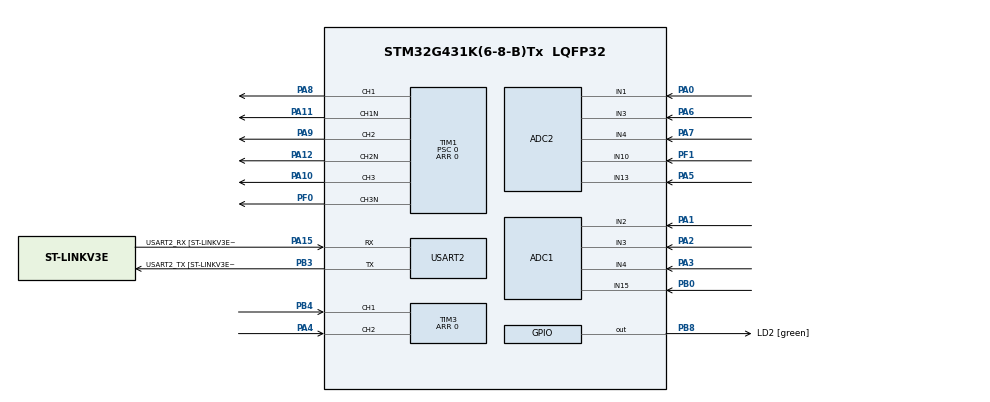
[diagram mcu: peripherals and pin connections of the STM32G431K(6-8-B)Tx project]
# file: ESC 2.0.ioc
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ADC1.Channel-13\#ChannelRegularConversion=ADC_CHANNEL_3
ADC1.EOCSelection=ADC_EOC_SEQ_CONV
ADC1.EnableAnalogWatchDog1=false
ADC1.EnableInjectedConversion=ENABLE
ADC1.EnableRegularConversion=ENABLE
ADC1.ExternalTrigInjecConv=ADC_EXTERNALTRIGINJEC_T1_TRGO
ADC1.InjNumberOfConversion=1
ADC1.InjectedChannel-12\#ChannelInjectedConversion=ADC_CHANNEL_2
ADC1.InjectedOffsetNumber-12\#ChannelInjectedConversion=ADC_OFFSET_NONE
ADC1.InjectedRank-12\#ChannelInjectedConversion=1
ADC1.InjectedSamplingTime-12\#ChannelInjectedConversion=ADC_SAMPLETIME_24CYCLES_5
ADC1.NbrOfConversionFlag=1
ADC1.OffsetNumber-13\#ChannelRegularConversion=ADC_OFFSET_NONE
ADC1.Rank-13\#ChannelRegularConversion=1
ADC1.SamplingTime-13\#ChannelRegularConversion=ADC_SAMPLETIME_47CYCLES_5
ADC1.master=1
ADC2.EOCSelection=ADC_EOC_SEQ_CONV
ADC2.EnableInjectedConversion=ENABLE
ADC2.EnableRegularConversion=DISABLE
ADC2.ExternalTrigInjecConv=ADC_EXTERNALTRIGINJEC_T1_TRGO
ADC2.InjNumberOfConversion=2
ADC2.InjectedChannel-24\#ChannelInjectedConversion=ADC_CHANNEL_1
ADC2.InjectedChannel-25\#ChannelInjectedConversion=ADC_CHANNEL_3
ADC2.InjectedOffsetNumber-24\#ChannelInjectedConversion=ADC_OFFSET_NONE
ADC2.InjectedOffsetNumber-25\#ChannelInjectedConversion=ADC_OFFSET_NONE
ADC2.InjectedRank-24\#ChannelInjectedConversion=1
ADC2.InjectedRank-25\#ChannelInjectedConversion=2
ADC2.InjectedSamplingTime-24\#ChannelInjectedConversion=ADC_SAMPLETIME_24CYCLES_5
ADC2.InjectedSamplingTime-25\#ChannelInjectedConversion=ADC_SAMPLETIME_24CYCLES_5
Dma.Request0=USART2_TX
Dma.USART2_TX.0.Direction=DMA_MEMORY_TO_PERIPH
Dma.USART2_TX.0.EventEnable=DISABLE
Dma.USART2_TX.0.Instance=DMA1_Channel1
Dma.USART2_TX.0.MemDataAlignment=DMA_MDATAALIGN_BYTE
Dma.USART2_TX.0.MemInc=DMA_MINC_ENABLE
Dma.USART2_TX.0.Mode=DMA_NORMAL
Dma.USART2_TX.0.PeriphDataAlignment=DMA_PDATAALIGN_BYTE
Dma.USART2_TX.0.PeriphInc=DMA_PINC_DISABLE
Dma.USART2_TX.0.Polarity=HAL_DMAMUX_REQ_GEN_RISING
Dma.USART2_TX.0.Priority=DMA_PRIORITY_LOW
Dma.USART2_TX.0.RequestNumber=1
Dma.USART2_TX.0.SignalID=NONE
Dma.USART2_TX.0.SyncEnable=DISABLE
Dma.USART2_TX.0.SyncPolarity=HAL_DMAMUX_SYNC_NO_EVENT
Dma.USART2_TX.0.SyncRequestNumber=1
Dma.USART2_TX.0.SyncSignalID=NONE
Mcu.Family=STM32G4
Mcu.Name=STM32G431K(6-8-B)Tx
Mcu.Package=LQFP32
NVIC.ADC1_2_IRQn=true\:0\:0\:false\:false\:true\:true\:true\:true
NVIC.DMA1_Channel1_IRQn=true\:0\:0\:false\:false\:true\:false\:true\:true
NVIC.PriorityGroup=NVIC_PRIORITYGROUP_4
NVIC.TIM6_DAC_IRQn=true\:0\:0\:false\:false\:true\:true\:true\:true
PA0.Mode=IN1-Single-Ended
PA0.Signal=ADC2_IN1
PA1.Mode=IN2-Single-Ended
PA1.Signal=ADC1_IN2
PA10.Signal=S_TIM1_CH3
PA11.Mode=PWM Generation1 CH1 CH1N
PA11.Signal=TIM1_CH1N
PA12.Mode=PWM Generation2 CH2 CH2N
PA12.Signal=TIM1_CH2N
PA13.GPIO_Label=T_SWDIO
PA13.Mode=Serial_Wire
PA13.Signal=SYS_JTMS-SWDIO
PA14.GPIO_Label=T_SWCLK
PA14.Mode=Serial_Wire
PA14.Signal=SYS_JTCK-SWCLK
PA15.GPIO_Label=USART2_RX [ST-LINKV3E_VCP_TX]
PA15.Mode=Asynchronous
PA15.Signal=USART2_RX
PA2.Mode=IN3-Single-Ended
PA2.Signal=ADC1_IN3
PA3.Mode=IN4-Single-Ended
PA3.Signal=ADC1_IN4
PA4.Signal=S_TIM3_CH2
PA5.Mode=IN13-Single-Ended
PA5.Signal=ADC2_IN13
PA6.Mode=IN3-Single-Ended
PA6.Signal=ADC2_IN3
PA7.Mode=IN4-Single-Ended
PA7.Signal=ADC2_IN4
PA8.Signal=S_TIM1_CH1
PA9.Signal=S_TIM1_CH2
PB0.Mode=IN15-Single-Ended
PB0.Signal=ADC1_IN15
PB3.GPIO_Label=USART2_TX [ST-LINKV3E_VCP_RX]
PB3.Mode=Asynchronous
PB3.Signal=USART2_TX
PB4.Signal=S_TIM3_CH1
PB8-BOOT0.GPIO_Label=LD2 [green]
PB8-BOOT0.Signal=GPIO_Output
PF0-OSC_IN.Mode=PWM Generation3 CH3 CH3N
PF0-OSC_IN.Signal=TIM1_CH3N
PF1-OSC_OUT.Mode=IN10-Single-Ended
PF1-OSC_OUT.Signal=ADC2_IN10
ProjectManager.HeapSize=0x200
ProjectManager.StackSize=0x400
ProjectManager.TargetToolchain=STM32CubeIDE
RCC.ADC12Freq_Value=170000000
RCC.AHBFreq_Value=170000000
RCC.APB1Freq_Value=170000000
RCC.APB1TimFreq_Value=170000000
RCC.APB2Freq_Value=170000000
RCC.APB2TimFreq_Value=170000000
RCC.CortexFreq_Value=170000000
RCC.EXTERNAL_CLOCK_VALUE=12288000
RCC.HCLKFreq_Value=170000000
RCC.HSE_VALUE=8000000
RCC.HSI48_VALUE=48000000
RCC.HSI_VALUE=16000000
RCC.LSE_VALUE=32768
RCC.PLLM=RCC_PLLM_DIV4
RCC.PLLN=85
RCC.SYSCLKFreq_VALUE=170000000
RCC.SYSCLKSource=RCC_SYSCLKSOURCE_PLLCLK
RCC.USBFreq_Value=170000000
RCC.VCOOutputFreq_Value=340000000
SH.S_TIM1_CH1.0=TIM1_CH1,PWM Generation1 CH1 CH1N
SH.S_TIM1_CH2.0=TIM1_CH2,PWM Generation2 CH2 CH2N
SH.S_TIM1_CH3.0=TIM1_CH3,PWM Generation3 CH3 CH3N
SH.S_TIM3_CH1.0=TIM3_CH1,Encoder_Interface
SH.S_TIM3_CH2.0=TIM3_CH2,Encoder_Interface
TIM1.AutoReloadPreload=TIM_AUTORELOAD_PRELOAD_DISABLE
TIM1.Channel-Output\ Compare4\ No\ Output=TIM_CHANNEL_4
TIM1.Channel-PWM\ Generation1\ CH1\ CH1N=TIM_CHANNEL_1
TIM1.Channel-PWM\ Generation2\ CH2\ CH2N=TIM_CHANNEL_2
TIM1.Channel-PWM\ Generation3\ CH3\ CH3N=TIM_CHANNEL_3
TIM1.CounterMode=TIM_COUNTERMODE_CENTERALIGNED1
TIM1.DeadTime=200
TIM1.OCMode_4=TIM_OCMODE_PULSE_ON_COMPARE
TIM1.PeriodNoDither=0
TIM1.Prescaler=0
TIM1.PulseNoDither_1=0
TIM1.PulseNoDither_4=0
TIM1.TIM_MasterOutputTrigger=TIM_TRGO_OC4REF
TIM3.EncoderMode=TIM_ENCODERMODE_TI12
TIM3.PeriodNoDither=0
TIM6.PeriodNoDither=21250
USART2.VirtualMode-Asynchronous=VM_ASYNC
VP_CORDIC_VS_CORDIC.Mode=CORDIC_Activate
VP_TIM1_VS_no_output4.Mode=Output Compare4 No Output
VP_TIM6_VS_ClockSourceINT.Mode=Enable_Timer
board=NUCLEO-G431KB

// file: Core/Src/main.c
/* USER CODE BEGIN Header */
/**
  ******************************************************************************
  * @file           : main.c
  * @brief          : Main program body
  ******************************************************************************
  * @attention
  *
  * Copyright (c) 2023 STMicroelectronics.
  * All rights reserved.
  *
  * This software is licensed under terms that can be found in the LICENSE file
  * in the root directory of this software component.
  * If no LICENSE file comes with this software, it is provided AS-IS.
  *
  ******************************************************************************
  */
/* USER CODE END Header */
#include "main.h"

/* USER CODE BEGIN Includes */
#include "constants.h"
#include "globalVariables.h"
#include "motorControl.h"
/* USER CODE END Includes */

void SystemClock_Config(void);
static void MX_GPIO_Init(void);
static void MX_DMA_Init(void);
static void MX_TIM3_Init(void);
static void MX_CORDIC_Init(void);
static void MX_TIM1_Init(void);
static void MX_TIM6_Init(void);
static void MX_ADC2_Init(void);
static void MX_ADC1_Init(void);
static void MX_USART2_UART_Init(void);

int main(void)
{

  /* MCU Configuration--------------------------------------------------------*/

  /* Reset of all peripherals, Initializes the Flash interface and the Systick. */
  LL_APB2_GRP1_EnableClock(LL_APB2_GRP1_PERIPH_SYSCFG);
  LL_APB1_GRP1_EnableClock(LL_APB1_GRP1_PERIPH_PWR);

  /* System interrupt init*/
  NVIC_SetPriorityGrouping(NVIC_PRIORITYGROUP_4);

  /* Configure the system clock */
  SystemClock_Config();

  /* Initialize all configured peripherals */
  MX_GPIO_Init();
  MX_DMA_Init();
  MX_TIM3_Init();
  MX_CORDIC_Init();
  MX_TIM1_Init();
  MX_TIM6_Init();
  MX_ADC2_Init();
  MX_ADC1_Init();
  MX_USART2_UART_Init();

  /* Infinite loop */
  /* USER CODE BEGIN WHILE */

  // PWM Timer Setup
  TIM1->ARR = PWM_PERIOD;
  LL_TIM_EnableCounter(TIM1);
  LL_TIM_CC_EnableChannel(TIM1, LL_TIM_CHANNEL_CH1);
  LL_TIM_CC_EnableChannel(TIM1, LL_TIM_CHANNEL_CH1N);
  LL_TIM_CC_EnableChannel(TIM1, LL_TIM_CHANNEL_CH2);
  LL_TIM_CC_EnableChannel(TIM1, LL_TIM_CHANNEL_CH2N);
  LL_TIM_CC_EnableChannel(TIM1, LL_TIM_CHANNEL_CH3);
  LL_TIM_CC_EnableChannel(TIM1, LL_TIM_CHANNEL_CH3N);
  // Channel 4 used to trigger ADC
  LL_TIM_CC_EnableChannel(TIM1, LL_TIM_CHANNEL_CH4);
  LL_TIM_OC_SetCompareCH4(TIM1, PWM_PERIOD);

  LL_TIM_EnableAllOutputs(TIM1);

  LL_ADC_INJ_StartConversion(ADC2);
  LL_ADC_INJ_StartConversion(ADC1);

  LL_DMA_EnableChannel(DMA1, LL_DMA_CHANNEL_5);

  mainLoop();

  while (1)
  {
    /* USER CODE END WHILE */

  }
}

void SystemClock_Config(void)
{
  LL_FLASH_SetLatency(LL_FLASH_LATENCY_4);
  while(LL_FLASH_GetLatency() != LL_FLASH_LATENCY_4)
  {
  }
  LL_PWR_EnableRange1BoostMode();
  LL_RCC_HSI_Enable();
   /* Wait till HSI is ready */
  while(LL_RCC_HSI_IsReady() != 1)
  {
  }

  LL_RCC_HSI_SetCalibTrimming(64);
  LL_RCC_PLL_ConfigDomain_SYS(LL_RCC_PLLSOURCE_HSI, LL_RCC_PLLM_DIV_4, 85, LL_RCC_PLLR_DIV_2);
  LL_RCC_PLL_EnableDomain_SYS();
  LL_RCC_PLL_Enable();
   /* Wait till PLL is ready */
  while(LL_RCC_PLL_IsReady() != 1)
  {
  }

  LL_RCC_SetSysClkSource(LL_RCC_SYS_CLKSOURCE_PLL);
  LL_RCC_SetAHBPrescaler(LL_RCC_SYSCLK_DIV_2);
   /* Wait till System clock is ready */
  while(LL_RCC_GetSysClkSource() != LL_RCC_SYS_CLKSOURCE_STATUS_PLL)
  {
  }

  /* Insure 1us transition state at intermediate medium speed clock*/
  for (__IO uint32_t i = (170 >> 1); i !=0; i--);

  /* Set AHB prescaler*/
  LL_RCC_SetAHBPrescaler(LL_RCC_SYSCLK_DIV_1);
  LL_RCC_SetAPB1Prescaler(LL_RCC_APB1_DIV_1);
  LL_RCC_SetAPB2Prescaler(LL_RCC_APB2_DIV_1);

  LL_Init1msTick(170000000);

  LL_SetSystemCoreClock(170000000);
}

static void MX_ADC1_Init(void)
{

  LL_ADC_InitTypeDef ADC_InitStruct = {0};
  LL_ADC_REG_InitTypeDef ADC_REG_InitStruct = {0};
  LL_ADC_CommonInitTypeDef ADC_CommonInitStruct = {0};
  LL_ADC_INJ_InitTypeDef ADC_INJ_InitStruct = {0};

  LL_GPIO_InitTypeDef GPIO_InitStruct = {0};

  LL_RCC_SetADCClockSource(LL_RCC_ADC12_CLKSOURCE_SYSCLK);

  /* Peripheral clock enable */
  LL_AHB2_GRP1_EnableClock(LL_AHB2_GRP1_PERIPH_ADC12);

  LL_AHB2_GRP1_EnableClock(LL_AHB2_GRP1_PERIPH_GPIOA);
  LL_AHB2_GRP1_EnableClock(LL_AHB2_GRP1_PERIPH_GPIOB);
  /**ADC1 GPIO Configuration
  PA1   ------> ADC1_IN2
  PA2   ------> ADC1_IN3
  PA3   ------> ADC1_IN4
  PB0   ------> ADC1_IN15
  */
  GPIO_InitStruct.Pin = LL_GPIO_PIN_1;
  GPIO_InitStruct.Mode = LL_GPIO_MODE_ANALOG;
  GPIO_InitStruct.Pull = LL_GPIO_PULL_NO;
  LL_GPIO_Init(GPIOA, &GPIO_InitStruct);

  GPIO_InitStruct.Pin = LL_GPIO_PIN_2;
  GPIO_InitStruct.Mode = LL_GPIO_MODE_ANALOG;
  GPIO_InitStruct.Pull = LL_GPIO_PULL_NO;
  LL_GPIO_Init(GPIOA, &GPIO_InitStruct);

  GPIO_InitStruct.Pin = LL_GPIO_PIN_3;
  GPIO_InitStruct.Mode = LL_GPIO_MODE_ANALOG;
  GPIO_InitStruct.Pull = LL_GPIO_PULL_NO;
  LL_GPIO_Init(GPIOA, &GPIO_InitStruct);

  GPIO_InitStruct.Pin = LL_GPIO_PIN_0;
  GPIO_InitStruct.Mode = LL_GPIO_MODE_ANALOG;
  GPIO_InitStruct.Pull = LL_GPIO_PULL_NO;
  LL_GPIO_Init(GPIOB, &GPIO_InitStruct);

  /* ADC1 interrupt Init */
  NVIC_SetPriority(ADC1_2_IRQn, NVIC_EncodePriority(NVIC_GetPriorityGrouping(),0, 0));
  NVIC_EnableIRQ(ADC1_2_IRQn);

  /** Common config
  */
  ADC_InitStruct.Resolution = LL_ADC_RESOLUTION_12B;
  ADC_InitStruct.DataAlignment = LL_ADC_DATA_ALIGN_RIGHT;
  ADC_InitStruct.LowPowerMode = LL_ADC_LP_MODE_NONE;
  LL_ADC_Init(ADC1, &ADC_InitStruct);
  ADC_REG_InitStruct.TriggerSource = LL_ADC_REG_TRIG_SOFTWARE;
  ADC_REG_InitStruct.SequencerLength = LL_ADC_REG_SEQ_SCAN_DISABLE;
  ADC_REG_InitStruct.SequencerDiscont = LL_ADC_REG_SEQ_DISCONT_DISABLE;
  ADC_REG_InitStruct.ContinuousMode = LL_ADC_REG_CONV_SINGLE;
  ADC_REG_InitStruct.DMATransfer = LL_ADC_REG_DMA_TRANSFER_NONE;
  ADC_REG_InitStruct.Overrun = LL_ADC_REG_OVR_DATA_PRESERVED;
  LL_ADC_REG_Init(ADC1, &ADC_REG_InitStruct);
  LL_ADC_SetGainCompensation(ADC1, 0);
  LL_ADC_SetOverSamplingScope(ADC1, LL_ADC_OVS_DISABLE);
  ADC_CommonInitStruct.CommonClock = LL_ADC_CLOCK_SYNC_PCLK_DIV4;
  ADC_CommonInitStruct.Multimode = LL_ADC_MULTI_INDEPENDENT;
  LL_ADC_CommonInit(__LL_ADC_COMMON_INSTANCE(ADC1), &ADC_CommonInitStruct);
  ADC_INJ_InitStruct.TriggerSource = LL_ADC_INJ_TRIG_EXT_TIM1_TRGO;
  ADC_INJ_InitStruct.SequencerLength = LL_ADC_INJ_SEQ_SCAN_DISABLE;
  ADC_INJ_InitStruct.SequencerDiscont = LL_ADC_INJ_SEQ_DISCONT_DISABLE;
  ADC_INJ_InitStruct.TrigAuto = LL_ADC_INJ_TRIG_INDEPENDENT;
  LL_ADC_INJ_Init(ADC1, &ADC_INJ_InitStruct);
  LL_ADC_INJ_SetQueueMode(ADC1, LL_ADC_INJ_QUEUE_DISABLE);
  LL_ADC_INJ_SetTriggerEdge(ADC1, LL_ADC_INJ_TRIG_EXT_RISING);

  /* Disable ADC deep power down (enabled by default after reset state) */
  LL_ADC_DisableDeepPowerDown(ADC1);
  /* Enable ADC internal voltage regulator */
  LL_ADC_EnableInternalRegulator(ADC1);
  /* Delay for ADC internal voltage regulator stabilization. */
  /* Compute number of CPU cycles to wait for, from delay in us. */
  /* Note: Variable divided by 2 to compensate partially */
  /* CPU processing cycles (depends on compilation optimization). */
  /* Note: If system core clock frequency is below 200kHz, wait time */
  /* is only a few CPU processing cycles. */
  uint32_t wait_loop_index;
  wait_loop_index = ((LL_ADC_DELAY_INTERNAL_REGUL_STAB_US * (SystemCoreClock / (100000 * 2))) / 10);
  while(wait_loop_index != 0)
  {
    wait_loop_index--;
  }

  /** Configure Injected Channel
  */
  LL_ADC_INJ_SetSequencerRanks(ADC1, LL_ADC_INJ_RANK_1, LL_ADC_CHANNEL_2);
  LL_ADC_SetChannelSamplingTime(ADC1, LL_ADC_CHANNEL_2, LL_ADC_SAMPLINGTIME_24CYCLES_5);
  LL_ADC_SetChannelSingleDiff(ADC1, LL_ADC_CHANNEL_2, LL_ADC_SINGLE_ENDED);

  /** Configure Regular Channel
  */
  LL_ADC_REG_SetSequencerRanks(ADC1, LL_ADC_REG_RANK_1, LL_ADC_CHANNEL_3);
  LL_ADC_SetChannelSamplingTime(ADC1, LL_ADC_CHANNEL_3, LL_ADC_SAMPLINGTIME_47CYCLES_5);
  LL_ADC_SetChannelSingleDiff(ADC1, LL_ADC_CHANNEL_3, LL_ADC_SINGLE_ENDED);
  /* USER CODE BEGIN ADC1_Init 2 */
  LL_ADC_Enable(ADC1);
  while (!LL_ADC_IsActiveFlag_ADRDY(ADC1)); // Wait until ADC ready
  LL_ADC_ClearFlag_ADRDY(ADC1); // Clear ADC ready flag

  LL_ADC_EnableIT_JEOS(ADC1);
  /* USER CODE END ADC1_Init 2 */

}

static void MX_ADC2_Init(void)
{

  LL_ADC_InitTypeDef ADC_InitStruct = {0};
  LL_ADC_REG_InitTypeDef ADC_REG_InitStruct = {0};
  LL_ADC_INJ_InitTypeDef ADC_INJ_InitStruct = {0};

  LL_GPIO_InitTypeDef GPIO_InitStruct = {0};

  LL_RCC_SetADCClockSource(LL_RCC_ADC12_CLKSOURCE_SYSCLK);

  /* Peripheral clock enable */
  LL_AHB2_GRP1_EnableClock(LL_AHB2_GRP1_PERIPH_ADC12);

  LL_AHB2_GRP1_EnableClock(LL_AHB2_GRP1_PERIPH_GPIOF);
  LL_AHB2_GRP1_EnableClock(LL_AHB2_GRP1_PERIPH_GPIOA);
  /**ADC2 GPIO Configuration
  PF1-OSC_OUT   ------> ADC2_IN10
  PA0   ------> ADC2_IN1
  PA5   ------> ADC2_IN13
  PA6   ------> ADC2_IN3
  PA7   ------> ADC2_IN4
  */
  GPIO_InitStruct.Pin = LL_GPIO_PIN_1;
  GPIO_InitStruct.Mode = LL_GPIO_MODE_ANALOG;
  GPIO_InitStruct.Pull = LL_GPIO_PULL_NO;
  LL_GPIO_Init(GPIOF, &GPIO_InitStruct);

  GPIO_InitStruct.Pin = LL_GPIO_PIN_0;
  GPIO_InitStruct.Mode = LL_GPIO_MODE_ANALOG;
  GPIO_InitStruct.Pull = LL_GPIO_PULL_NO;
  LL_GPIO_Init(GPIOA, &GPIO_InitStruct);

  GPIO_InitStruct.Pin = LL_GPIO_PIN_5;
  GPIO_InitStruct.Mode = LL_GPIO_MODE_ANALOG;
  GPIO_InitStruct.Pull = LL_GPIO_PULL_NO;
  LL_GPIO_Init(GPIOA, &GPIO_InitStruct);

  GPIO_InitStruct.Pin = LL_GPIO_PIN_6;
  GPIO_InitStruct.Mode = LL_GPIO_MODE_ANALOG;
  GPIO_InitStruct.Pull = LL_GPIO_PULL_NO;
  LL_GPIO_Init(GPIOA, &GPIO_InitStruct);

  GPIO_InitStruct.Pin = LL_GPIO_PIN_7;
  GPIO_InitStruct.Mode = LL_GPIO_MODE_ANALOG;
  GPIO_InitStruct.Pull = LL_GPIO_PULL_NO;
  LL_GPIO_Init(GPIOA, &GPIO_InitStruct);

  /* ADC2 interrupt Init */
  NVIC_SetPriority(ADC1_2_IRQn, NVIC_EncodePriority(NVIC_GetPriorityGrouping(),0, 0));
  NVIC_EnableIRQ(ADC1_2_IRQn);

  /** Common config
  */
  ADC_InitStruct.Resolution = LL_ADC_RESOLUTION_12B;
  ADC_InitStruct.DataAlignment = LL_ADC_DATA_ALIGN_RIGHT;
  ADC_InitStruct.LowPowerMode = LL_ADC_LP_MODE_NONE;
  LL_ADC_Init(ADC2, &ADC_InitStruct);
  ADC_REG_InitStruct.SequencerLength = LL_ADC_REG_SEQ_SCAN_DISABLE;
  ADC_REG_InitStruct.SequencerDiscont = LL_ADC_REG_SEQ_DISCONT_DISABLE;
  ADC_REG_InitStruct.ContinuousMode = LL_ADC_REG_CONV_SINGLE;
  ADC_REG_InitStruct.DMATransfer = LL_ADC_REG_DMA_TRANSFER_NONE;
  ADC_REG_InitStruct.Overrun = LL_ADC_REG_OVR_DATA_PRESERVED;
  LL_ADC_REG_Init(ADC2, &ADC_REG_InitStruct);
  LL_ADC_SetGainCompensation(ADC2, 0);
  LL_ADC_SetOverSamplingScope(ADC2, LL_ADC_OVS_DISABLE);
  ADC_INJ_InitStruct.TriggerSource = LL_ADC_INJ_TRIG_EXT_TIM1_TRGO;
  ADC_INJ_InitStruct.SequencerLength = LL_ADC_INJ_SEQ_SCAN_ENABLE_2RANKS;
  ADC_INJ_InitStruct.SequencerDiscont = LL_ADC_INJ_SEQ_DISCONT_DISABLE;
  ADC_INJ_InitStruct.TrigAuto = LL_ADC_INJ_TRIG_INDEPENDENT;
  LL_ADC_INJ_Init(ADC2, &ADC_INJ_InitStruct);
  LL_ADC_INJ_SetQueueMode(ADC2, LL_ADC_INJ_QUEUE_DISABLE);
  LL_ADC_INJ_SetTriggerEdge(ADC2, LL_ADC_INJ_TRIG_EXT_RISING);

  /* Disable ADC deep power down (enabled by default after reset state) */
  LL_ADC_DisableDeepPowerDown(ADC2);
  /* Enable ADC internal voltage regulator */
  LL_ADC_EnableInternalRegulator(ADC2);
  /* Delay for ADC internal voltage regulator stabilization. */
  /* Compute number of CPU cycles to wait for, from delay in us. */
  /* Note: Variable divided by 2 to compensate partially */
  /* CPU processing cycles (depends on compilation optimization). */
  /* Note: If system core clock frequency is below 200kHz, wait time */
  /* is only a few CPU processing cycles. */
  uint32_t wait_loop_index;
  wait_loop_index = ((LL_ADC_DELAY_INTERNAL_REGUL_STAB_US * (SystemCoreClock / (100000 * 2))) / 10);
  while(wait_loop_index != 0)
  {
    wait_loop_index--;
  }

  /** Configure Injected Channel
  */
  LL_ADC_INJ_SetSequencerRanks(ADC2, LL_ADC_INJ_RANK_1, LL_ADC_CHANNEL_1);
  LL_ADC_SetChannelSamplingTime(ADC2, LL_ADC_CHANNEL_1, LL_ADC_SAMPLINGTIME_24CYCLES_5);
  LL_ADC_SetChannelSingleDiff(ADC2, LL_ADC_CHANNEL_1, LL_ADC_SINGLE_ENDED);

  /** Configure Injected Channel
  */
  LL_ADC_INJ_SetSequencerRanks(ADC2, LL_ADC_INJ_RANK_2, LL_ADC_CHANNEL_3);
  LL_ADC_SetChannelSamplingTime(ADC2, LL_ADC_CHANNEL_3, LL_ADC_SAMPLINGTIME_24CYCLES_5);
  LL_ADC_SetChannelSingleDiff(ADC2, LL_ADC_CHANNEL_3, LL_ADC_SINGLE_ENDED);
  /* USER CODE BEGIN ADC2_Init 2 */
  LL_ADC_Enable(ADC2);
  while (!LL_ADC_IsActiveFlag_ADRDY(ADC2)); // Wait until ADC ready
  LL_ADC_ClearFlag_ADRDY(ADC2); // Clear ADC ready flag

  LL_ADC_EnableIT_JEOS(ADC2);
  /* USER CODE END ADC2_Init 2 */

}

static void MX_CORDIC_Init(void)
{

  /* Peripheral clock enable */
  LL_AHB1_GRP1_EnableClock(LL_AHB1_GRP1_PERIPH_CORDIC);

  /* nothing else to be configured */

  /* USER CODE BEGIN CORDIC_Init 2 */
  LL_CORDIC_SetFunction(CORDIC, LL_CORDIC_FUNCTION_SINE);
  LL_CORDIC_SetPrecision(CORDIC, LL_CORDIC_PRECISION_5CYCLES);
  LL_CORDIC_SetNbWrite(CORDIC, LL_CORDIC_NBWRITE_1);
  LL_CORDIC_SetNbRead(CORDIC, LL_CORDIC_NBREAD_1);
  LL_CORDIC_SetInSize(CORDIC, LL_CORDIC_INSIZE_16BITS);
  LL_CORDIC_SetOutSize(CORDIC, LL_CORDIC_OUTSIZE_16BITS);
  /* USER CODE END CORDIC_Init 2 */

}

static void MX_TIM1_Init(void)
{

  LL_TIM_InitTypeDef TIM_InitStruct = {0};
  LL_TIM_OC_InitTypeDef TIM_OC_InitStruct = {0};
  LL_TIM_BDTR_InitTypeDef TIM_BDTRInitStruct = {0};

  LL_GPIO_InitTypeDef GPIO_InitStruct = {0};

  /* Peripheral clock enable */
  LL_APB2_GRP1_EnableClock(LL_APB2_GRP1_PERIPH_TIM1);

  TIM_InitStruct.Prescaler = 0;
  TIM_InitStruct.CounterMode = LL_TIM_COUNTERMODE_CENTER_DOWN;
  TIM_InitStruct.Autoreload = 0;
  TIM_InitStruct.ClockDivision = LL_TIM_CLOCKDIVISION_DIV1;
  TIM_InitStruct.RepetitionCounter = 0;
  LL_TIM_Init(TIM1, &TIM_InitStruct);
  LL_TIM_DisableARRPreload(TIM1);
  LL_TIM_OC_EnablePreload(TIM1, LL_TIM_CHANNEL_CH1);
  TIM_OC_InitStruct.OCMode = LL_TIM_OCMODE_PWM1;
  TIM_OC_InitStruct.OCState = LL_TIM_OCSTATE_DISABLE;
  TIM_OC_InitStruct.OCNState = LL_TIM_OCSTATE_DISABLE;
  TIM_OC_InitStruct.CompareValue = 0;
  TIM_OC_InitStruct.OCPolarity = LL_TIM_OCPOLARITY_HIGH;
  TIM_OC_InitStruct.OCNPolarity = LL_TIM_OCPOLARITY_HIGH;
  TIM_OC_InitStruct.OCIdleState = LL_TIM_OCIDLESTATE_LOW;
  TIM_OC_InitStruct.OCNIdleState = LL_TIM_OCIDLESTATE_LOW;
  LL_TIM_OC_Init(TIM1, LL_TIM_CHANNEL_CH1, &TIM_OC_InitStruct);
  LL_TIM_OC_DisableFast(TIM1, LL_TIM_CHANNEL_CH1);
  LL_TIM_OC_EnablePreload(TIM1, LL_TIM_CHANNEL_CH2);
  LL_TIM_OC_Init(TIM1, LL_TIM_CHANNEL_CH2, &TIM_OC_InitStruct);
  LL_TIM_OC_DisableFast(TIM1, LL_TIM_CHANNEL_CH2);
  LL_TIM_OC_EnablePreload(TIM1, LL_TIM_CHANNEL_CH3);
  LL_TIM_OC_Init(TIM1, LL_TIM_CHANNEL_CH3, &TIM_OC_InitStruct);
  LL_TIM_OC_DisableFast(TIM1, LL_TIM_CHANNEL_CH3);
  TIM_OC_InitStruct.OCMode = LL_TIM_OCMODE_PULSE_ON_COMPARE;
  LL_TIM_OC_Init(TIM1, LL_TIM_CHANNEL_CH4, &TIM_OC_InitStruct);
  LL_TIM_OC_DisableFast(TIM1, LL_TIM_CHANNEL_CH4);
  LL_TIM_OC_SetPulseWidthPrescaler(TIM1, LL_TIM_PWPRSC_X1);
  LL_TIM_OC_SetPulseWidth(TIM1, 0);
  LL_TIM_SetTriggerOutput(TIM1, LL_TIM_TRGO_OC4REF);
  LL_TIM_SetTriggerOutput2(TIM1, LL_TIM_TRGO2_RESET);
  LL_TIM_DisableMasterSlaveMode(TIM1);
  TIM_BDTRInitStruct.OSSRState = LL_TIM_OSSR_DISABLE;
  TIM_BDTRInitStruct.OSSIState = LL_TIM_OSSI_DISABLE;
  TIM_BDTRInitStruct.LockLevel = LL_TIM_LOCKLEVEL_OFF;
  TIM_BDTRInitStruct.DeadTime = 200;
  TIM_BDTRInitStruct.BreakState = LL_TIM_BREAK_DISABLE;
  TIM_BDTRInitStruct.BreakPolarity = LL_TIM_BREAK_POLARITY_HIGH;
  TIM_BDTRInitStruct.BreakFilter = LL_TIM_BREAK_FILTER_FDIV1;
  TIM_BDTRInitStruct.BreakAFMode = LL_TIM_BREAK_AFMODE_INPUT;
  TIM_BDTRInitStruct.Break2State = LL_TIM_BREAK2_DISABLE;
  TIM_BDTRInitStruct.Break2Polarity = LL_TIM_BREAK2_POLARITY_HIGH;
  TIM_BDTRInitStruct.Break2Filter = LL_TIM_BREAK2_FILTER_FDIV1;
  TIM_BDTRInitStruct.Break2AFMode = LL_TIM_BREAK_AFMODE_INPUT;
  TIM_BDTRInitStruct.AutomaticOutput = LL_TIM_AUTOMATICOUTPUT_DISABLE;
  LL_TIM_BDTR_Init(TIM1, &TIM_BDTRInitStruct);
  /* USER CODE BEGIN TIM1_Init 2 */
  // Set pulse width for channel 4
  LL_TIM_OC_SetPulseWidthPrescaler(TIM1, LL_TIM_PWPRSC_X1);
  LL_TIM_OC_SetPulseWidth(TIM1, 100);
  /* USER CODE END TIM1_Init 2 */
  LL_AHB2_GRP1_EnableClock(LL_AHB2_GRP1_PERIPH_GPIOF);
  LL_AHB2_GRP1_EnableClock(LL_AHB2_GRP1_PERIPH_GPIOA);
  /**TIM1 GPIO Configuration
  PF0-OSC_IN   ------> TIM1_CH3N
  PA8   ------> TIM1_CH1
  PA9   ------> TIM1_CH2
  PA10   ------> TIM1_CH3
  PA11   ------> TIM1_CH1N
  PA12   ------> TIM1_CH2N
  */
  GPIO_InitStruct.Pin = LL_GPIO_PIN_0;
  GPIO_InitStruct.Mode = LL_GPIO_MODE_ALTERNATE;
  GPIO_InitStruct.Speed = LL_GPIO_SPEED_FREQ_LOW;
  GPIO_InitStruct.OutputType = LL_GPIO_OUTPUT_PUSHPULL;
  GPIO_InitStruct.Pull = LL_GPIO_PULL_NO;
  GPIO_InitStruct.Alternate = LL_GPIO_AF_6;
  LL_GPIO_Init(GPIOF, &GPIO_InitStruct);

  GPIO_InitStruct.Pin = LL_GPIO_PIN_8;
  GPIO_InitStruct.Mode = LL_GPIO_MODE_ALTERNATE;
  GPIO_InitStruct.Speed = LL_GPIO_SPEED_FREQ_LOW;
  GPIO_InitStruct.OutputType = LL_GPIO_OUTPUT_PUSHPULL;
  GPIO_InitStruct.Pull = LL_GPIO_PULL_NO;
  GPIO_InitStruct.Alternate = LL_GPIO_AF_6;
  LL_GPIO_Init(GPIOA, &GPIO_InitStruct);

  GPIO_InitStruct.Pin = LL_GPIO_PIN_9;
  GPIO_InitStruct.Mode = LL_GPIO_MODE_ALTERNATE;
  GPIO_InitStruct.Speed = LL_GPIO_SPEED_FREQ_LOW;
  GPIO_InitStruct.OutputType = LL_GPIO_OUTPUT_PUSHPULL;
  GPIO_InitStruct.Pull = LL_GPIO_PULL_NO;
  GPIO_InitStruct.Alternate = LL_GPIO_AF_6;
  LL_GPIO_Init(GPIOA, &GPIO_InitStruct);

  GPIO_InitStruct.Pin = LL_GPIO_PIN_10;
  GPIO_InitStruct.Mode = LL_GPIO_MODE_ALTERNATE;
  GPIO_InitStruct.Speed = LL_GPIO_SPEED_FREQ_LOW;
  GPIO_InitStruct.OutputType = LL_GPIO_OUTPUT_PUSHPULL;
  GPIO_InitStruct.Pull = LL_GPIO_PULL_NO;
  GPIO_InitStruct.Alternate = LL_GPIO_AF_6;
  LL_GPIO_Init(GPIOA, &GPIO_InitStruct);

  GPIO_InitStruct.Pin = LL_GPIO_PIN_11;
  GPIO_InitStruct.Mode = LL_GPIO_MODE_ALTERNATE;
  GPIO_InitStruct.Speed = LL_GPIO_SPEED_FREQ_LOW;
  GPIO_InitStruct.OutputType = LL_GPIO_OUTPUT_PUSHPULL;
  GPIO_InitStruct.Pull = LL_GPIO_PULL_NO;
  GPIO_InitStruct.Alternate = LL_GPIO_AF_6;
  LL_GPIO_Init(GPIOA, &GPIO_InitStruct);

  GPIO_InitStruct.Pin = LL_GPIO_PIN_12;
  GPIO_InitStruct.Mode = LL_GPIO_MODE_ALTERNATE;
  GPIO_InitStruct.Speed = LL_GPIO_SPEED_FREQ_LOW;
  GPIO_InitStruct.OutputType = LL_GPIO_OUTPUT_PUSHPULL;
  GPIO_InitStruct.Pull = LL_GPIO_PULL_NO;
  GPIO_InitStruct.Alternate = LL_GPIO_AF_6;
  LL_GPIO_Init(GPIOA, &GPIO_InitStruct);

}

static void MX_TIM3_Init(void)
{

  LL_TIM_InitTypeDef TIM_InitStruct = {0};

  LL_GPIO_InitTypeDef GPIO_InitStruct = {0};

  /* Peripheral clock enable */
  LL_APB1_GRP1_EnableClock(LL_APB1_GRP1_PERIPH_TIM3);

  LL_AHB2_GRP1_EnableClock(LL_AHB2_GRP1_PERIPH_GPIOA);
  LL_AHB2_GRP1_EnableClock(LL_AHB2_GRP1_PERIPH_GPIOB);
  /**TIM3 GPIO Configuration
  PA4   ------> TIM3_CH2
  PB4   ------> TIM3_CH1
  */
  GPIO_InitStruct.Pin = LL_GPIO_PIN_4;
  GPIO_InitStruct.Mode = LL_GPIO_MODE_ALTERNATE;
  GPIO_InitStruct.Speed = LL_GPIO_SPEED_FREQ_LOW;
  GPIO_InitStruct.OutputType = LL_GPIO_OUTPUT_PUSHPULL;
  GPIO_InitStruct.Pull = LL_GPIO_PULL_NO;
  GPIO_InitStruct.Alternate = LL_GPIO_AF_2;
  LL_GPIO_Init(GPIOA, &GPIO_InitStruct);

  GPIO_InitStruct.Pin = LL_GPIO_PIN_4;
  GPIO_InitStruct.Mode = LL_GPIO_MODE_ALTERNATE;
  GPIO_InitStruct.Speed = LL_GPIO_SPEED_FREQ_LOW;
  GPIO_InitStruct.OutputType = LL_GPIO_OUTPUT_PUSHPULL;
  GPIO_InitStruct.Pull = LL_GPIO_PULL_NO;
  GPIO_InitStruct.Alternate = LL_GPIO_AF_2;
  LL_GPIO_Init(GPIOB, &GPIO_InitStruct);

  TIM_InitStruct.Prescaler = 0;
  TIM_InitStruct.CounterMode = LL_TIM_COUNTERMODE_UP;
  TIM_InitStruct.Autoreload = 0;
  TIM_InitStruct.ClockDivision = LL_TIM_CLOCKDIVISION_DIV1;
  LL_TIM_Init(TIM3, &TIM_InitStruct);
  LL_TIM_DisableARRPreload(TIM3);
  LL_TIM_SetEncoderMode(TIM3, LL_TIM_ENCODERMODE_X4_TI12);
  LL_TIM_IC_SetActiveInput(TIM3, LL_TIM_CHANNEL_CH1, LL_TIM_ACTIVEINPUT_DIRECTTI);
  LL_TIM_IC_SetPrescaler(TIM3, LL_TIM_CHANNEL_CH1, LL_TIM_ICPSC_DIV1);
  LL_TIM_IC_SetFilter(TIM3, LL_TIM_CHANNEL_CH1, LL_TIM_IC_FILTER_FDIV1);
  LL_TIM_IC_SetPolarity(TIM3, LL_TIM_CHANNEL_CH1, LL_TIM_IC_POLARITY_RISING);
  LL_TIM_IC_SetActiveInput(TIM3, LL_TIM_CHANNEL_CH2, LL_TIM_ACTIVEINPUT_DIRECTTI);
  LL_TIM_IC_SetPrescaler(TIM3, LL_TIM_CHANNEL_CH2, LL_TIM_ICPSC_DIV1);
  LL_TIM_IC_SetFilter(TIM3, LL_TIM_CHANNEL_CH2, LL_TIM_IC_FILTER_FDIV1);
  LL_TIM_IC_SetPolarity(TIM3, LL_TIM_CHANNEL_CH2, LL_TIM_IC_POLARITY_RISING);
  LL_TIM_SetTriggerOutput(TIM3, LL_TIM_TRGO_RESET);
  LL_TIM_DisableMasterSlaveMode(TIM3);
  /* USER CODE BEGIN TIM3_Init 2 */
  TIM3->ARR = ENCODER_RES - 1;
  LL_TIM_EnableCounter(TIM3);
  /* USER CODE END TIM3_Init 2 */

}

static void MX_TIM6_Init(void)
{

  LL_TIM_InitTypeDef TIM_InitStruct = {0};

  /* Peripheral clock enable */
  LL_APB1_GRP1_EnableClock(LL_APB1_GRP1_PERIPH_TIM6);

  /* TIM6 interrupt Init */
  NVIC_SetPriority(TIM6_DAC_IRQn, NVIC_EncodePriority(NVIC_GetPriorityGrouping(),0, 0));
  NVIC_EnableIRQ(TIM6_DAC_IRQn);

  TIM_InitStruct.Prescaler = 0;
  TIM_InitStruct.CounterMode = LL_TIM_COUNTERMODE_UP;
  TIM_InitStruct.Autoreload = 21250;
  LL_TIM_Init(TIM6, &TIM_InitStruct);
  LL_TIM_DisableARRPreload(TIM6);
  LL_TIM_SetTriggerOutput(TIM6, LL_TIM_TRGO_RESET);
  LL_TIM_DisableMasterSlaveMode(TIM6);
  /* USER CODE BEGIN TIM6_Init 2 */
  LL_TIM_EnableCounter(TIM6);
  LL_TIM_EnableIT_UPDATE(TIM6);
  /* USER CODE END TIM6_Init 2 */

}

static void MX_USART2_UART_Init(void)
{

  LL_USART_InitTypeDef USART_InitStruct = {0};

  LL_GPIO_InitTypeDef GPIO_InitStruct = {0};

  LL_RCC_SetUSARTClockSource(LL_RCC_USART2_CLKSOURCE_PCLK1);

  /* Peripheral clock enable */
  LL_APB1_GRP1_EnableClock(LL_APB1_GRP1_PERIPH_USART2);

  LL_AHB2_GRP1_EnableClock(LL_AHB2_GRP1_PERIPH_GPIOA);
  LL_AHB2_GRP1_EnableClock(LL_AHB2_GRP1_PERIPH_GPIOB);
  /**USART2 GPIO Configuration
  PA15   ------> USART2_RX
  PB3   ------> USART2_TX
  */
  GPIO_InitStruct.Pin = USART2_RX_Pin;
  GPIO_InitStruct.Mode = LL_GPIO_MODE_ALTERNATE;
  GPIO_InitStruct.Speed = LL_GPIO_SPEED_FREQ_LOW;
  GPIO_InitStruct.OutputType = LL_GPIO_OUTPUT_PUSHPULL;
  GPIO_InitStruct.Pull = LL_GPIO_PULL_NO;
  GPIO_InitStruct.Alternate = LL_GPIO_AF_7;
  LL_GPIO_Init(USART2_RX_GPIO_Port, &GPIO_InitStruct);

  GPIO_InitStruct.Pin = USART2_TX_Pin;
  GPIO_InitStruct.Mode = LL_GPIO_MODE_ALTERNATE;
  GPIO_InitStruct.Speed = LL_GPIO_SPEED_FREQ_LOW;
  GPIO_InitStruct.OutputType = LL_GPIO_OUTPUT_PUSHPULL;
  GPIO_InitStruct.Pull = LL_GPIO_PULL_NO;
  GPIO_InitStruct.Alternate = LL_GPIO_AF_7;
  LL_GPIO_Init(USART2_TX_GPIO_Port, &GPIO_InitStruct);

  /* USART2 DMA Init */

  /* USART2_TX Init */
  LL_DMA_SetPeriphRequest(DMA1, LL_DMA_CHANNEL_1, LL_DMAMUX_REQ_USART2_TX);

  LL_DMA_SetDataTransferDirection(DMA1, LL_DMA_CHANNEL_1, LL_DMA_DIRECTION_MEMORY_TO_PERIPH);

  LL_DMA_SetChannelPriorityLevel(DMA1, LL_DMA_CHANNEL_1, LL_DMA_PRIORITY_LOW);

  LL_DMA_SetMode(DMA1, LL_DMA_CHANNEL_1, LL_DMA_MODE_NORMAL);

  LL_DMA_SetPeriphIncMode(DMA1, LL_DMA_CHANNEL_1, LL_DMA_PERIPH_NOINCREMENT);

  LL_DMA_SetMemoryIncMode(DMA1, LL_DMA_CHANNEL_1, LL_DMA_MEMORY_INCREMENT);

  LL_DMA_SetPeriphSize(DMA1, LL_DMA_CHANNEL_1, LL_DMA_PDATAALIGN_BYTE);

  LL_DMA_SetMemorySize(DMA1, LL_DMA_CHANNEL_1, LL_DMA_MDATAALIGN_BYTE);

  /* USER CODE BEGIN USART2_Init 1 */
  LL_DMA_ConfigAddresses(DMA1, LL_DMA_CHANNEL_1, (uint32_t)&_msg, LL_USART_DMA_GetRegAddr(USART2, LL_USART_DMA_REG_DATA_TRANSMIT), LL_DMA_DIRECTION_MEMORY_TO_PERIPH);
  LL_USART_EnableDMAReq_TX(USART2);
  /* USER CODE END USART2_Init 1 */
  USART_InitStruct.PrescalerValue = LL_USART_PRESCALER_DIV1;
  USART_InitStruct.BaudRate = 115200;
  USART_InitStruct.DataWidth = LL_USART_DATAWIDTH_8B;
  USART_InitStruct.StopBits = LL_USART_STOPBITS_1;
  USART_InitStruct.Parity = LL_USART_PARITY_NONE;
  USART_InitStruct.TransferDirection = LL_USART_DIRECTION_TX_RX;
  USART_InitStruct.HardwareFlowControl = LL_USART_HWCONTROL_NONE;
  USART_InitStruct.OverSampling = LL_USART_OVERSAMPLING_16;
  LL_USART_Init(USART2, &USART_InitStruct);
  LL_USART_SetTXFIFOThreshold(USART2, LL_USART_FIFOTHRESHOLD_1_8);
  LL_USART_SetRXFIFOThreshold(USART2, LL_USART_FIFOTHRESHOLD_1_8);
  LL_USART_DisableFIFO(USART2);
  LL_USART_ConfigAsyncMode(USART2);

  LL_USART_Enable(USART2);

  /* Polling USART2 initialisation */
  while((!(LL_USART_IsActiveFlag_TEACK(USART2))) || (!(LL_USART_IsActiveFlag_REACK(USART2))))
  {
  }
  /* USER CODE BEGIN USART2_Init 2 */
  // Send nothing to set TC1 flag high
  LL_DMA_SetDataLength(DMA1, LL_DMA_CHANNEL_1, 1);
  LL_DMA_EnableChannel(DMA1, LL_DMA_CHANNEL_1);
  /* USER CODE END USART2_Init 2 */

}

static void MX_DMA_Init(void)
{

  /* Init with LL driver */
  /* DMA controller clock enable */
  LL_AHB1_GRP1_EnableClock(LL_AHB1_GRP1_PERIPH_DMAMUX1);
  LL_AHB1_GRP1_EnableClock(LL_AHB1_GRP1_PERIPH_DMA1);

  /* DMA interrupt init */
  /* DMA1_Channel1_IRQn interrupt configuration */
  NVIC_SetPriority(DMA1_Channel1_IRQn, NVIC_EncodePriority(NVIC_GetPriorityGrouping(),0, 0));
  NVIC_EnableIRQ(DMA1_Channel1_IRQn);

}

static void MX_GPIO_Init(void)
{
  LL_GPIO_InitTypeDef GPIO_InitStruct = {0};

  /* GPIO Ports Clock Enable */
  LL_AHB2_GRP1_EnableClock(LL_AHB2_GRP1_PERIPH_GPIOF);
  LL_AHB2_GRP1_EnableClock(LL_AHB2_GRP1_PERIPH_GPIOA);
  LL_AHB2_GRP1_EnableClock(LL_AHB2_GRP1_PERIPH_GPIOB);

  /**/
  LL_GPIO_ResetOutputPin(LD2_GPIO_Port, LD2_Pin);

  /**/
  GPIO_InitStruct.Pin = LD2_Pin;
  GPIO_InitStruct.Mode = LL_GPIO_MODE_OUTPUT;
  GPIO_InitStruct.Speed = LL_GPIO_SPEED_FREQ_LOW;
  GPIO_InitStruct.OutputType = LL_GPIO_OUTPUT_PUSHPULL;
  GPIO_InitStruct.Pull = LL_GPIO_PULL_NO;
  LL_GPIO_Init(LD2_GPIO_Port, &GPIO_InitStruct);

}

void Error_Handler(void)
{
  __disable_irq();
  while (1)
  {
  }
}
